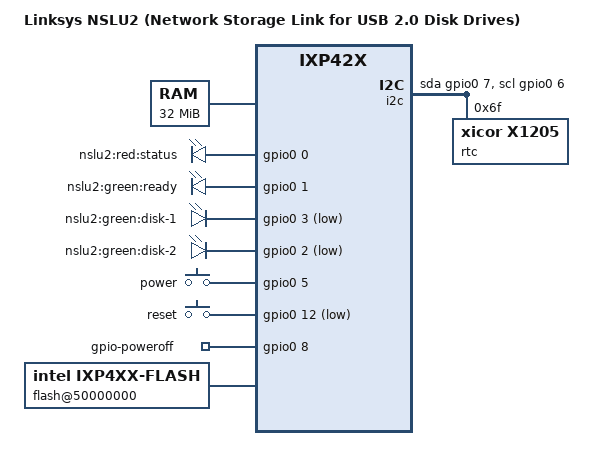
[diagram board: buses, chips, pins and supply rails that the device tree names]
// SPDX-License-Identifier: ISC
/*
 * Device Tree file for Linksys NSLU2
 */

/dts-v1/;

#include "intel-ixp42x.dtsi"
#include <dt-bindings/input/input.h>

/ {
	model = "Linksys NSLU2 (Network Storage Link for USB 2.0 Disk Drives)";
	compatible = "linksys,nslu2", "intel,ixp42x";
	#address-cells = <1>;
	#size-cells = <1>;

	memory@0 {
		/* 32 MB SDRAM */
		device_type = "memory";
		reg = <0x00000000 0x2000000>;
	};

	chosen {
		bootargs = "console=ttyS0,115200n8 root=/dev/mtdblock2 rw rootfstype=squashfs,jffs2 rootwait";
		stdout-path = "uart0:115200n8";
	};

	aliases {
		serial0 = &uart0;
	};

	leds {
		compatible = "gpio-leds";
		led-status {
			label = "nslu2:red:status";
			gpios = <&gpio0 0 GPIO_ACTIVE_HIGH>;
			default-state = "on";
			linux,default-trigger = "heartbeat";
		};
		led-ready {
			label = "nslu2:green:ready";
			gpios = <&gpio0 1 GPIO_ACTIVE_HIGH>;
			default-state = "on";
		};
		led-disk-1 {
			label = "nslu2:green:disk-1";
			gpios = <&gpio0 3 GPIO_ACTIVE_LOW>;
			default-state = "off";
		};
		led-disk-2 {
			label = "nslu2:green:disk-2";
			gpios = <&gpio0 2 GPIO_ACTIVE_LOW>;
			default-state = "off";
		};
	};

	gpio_keys {
		compatible = "gpio-keys";

		button-power {
			wakeup-source;
			linux,code = <KEY_POWER>;
			label = "power";
			gpios = <&gpio0 5 GPIO_ACTIVE_HIGH>;
		};
		button-reset {
			wakeup-source;
			linux,code = <KEY_ESC>;
			label = "reset";
			gpios = <&gpio0 12 GPIO_ACTIVE_LOW>;
		};
	};

	i2c {
		compatible = "i2c-gpio";
		sda-gpios = <&gpio0 7 (GPIO_ACTIVE_HIGH|GPIO_OPEN_DRAIN)>;
		scl-gpios = <&gpio0 6 (GPIO_ACTIVE_HIGH|GPIO_OPEN_DRAIN)>;
		#address-cells = <1>;
		#size-cells = <0>;

		rtc@6f {
			compatible = "xicor,x1205";
			reg = <0x6f>;
		};
	};

	gpio-poweroff {
		compatible = "gpio-poweroff";
		gpios = <&gpio0 8 GPIO_ACTIVE_HIGH>;
		timeout-ms = <5000>;
	};

	/* The first 16MB region on the expansion bus */
	flash@50000000 {
		compatible = "intel,ixp4xx-flash", "cfi-flash";
		bank-width = <2>;
		/*
		 * 8 MB of Flash in 0x20000 byte blocks
		 * mapped in at 0x50000000
		 */
		reg = <0x50000000 0x800000>;

		partitions {
			compatible = "redboot-fis";
			/* Eraseblock at 0x7e0000 */
			fis-index-block = <0x3f>;
		};
	};
};
